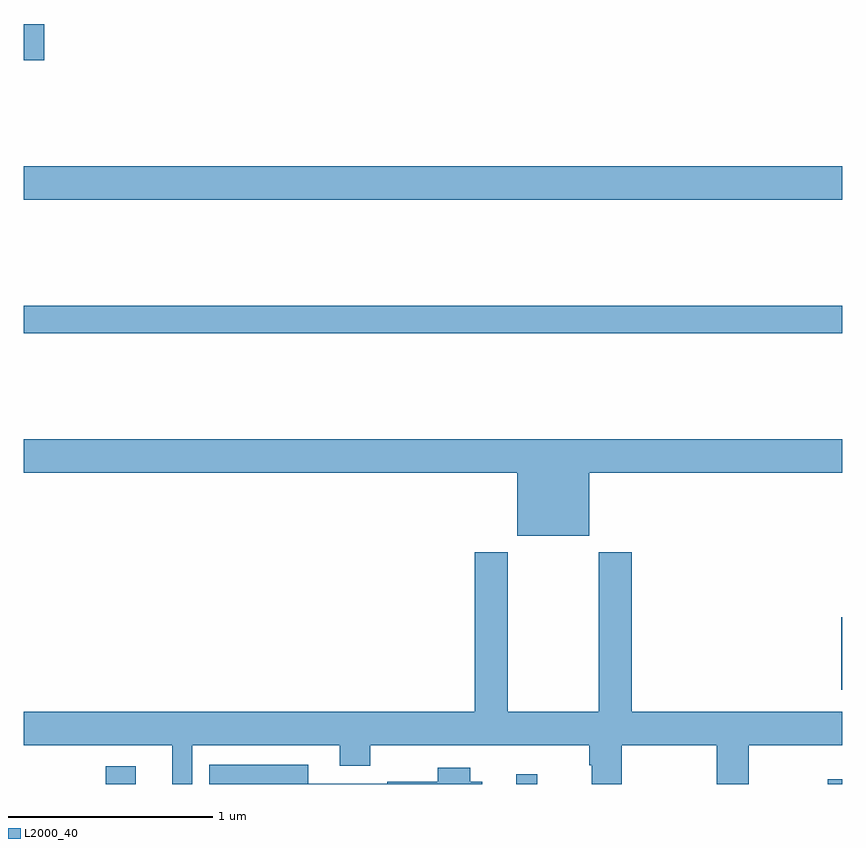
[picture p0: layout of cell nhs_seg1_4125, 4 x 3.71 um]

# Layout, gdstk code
import gdstk
lib = gdstk.Library(unit=1e-6, precision=1e-09)
def R(c, l, rs):  # rectangles x0, y0, x1, y1
    for r in rs: c.add(gdstk.rectangle(r[:2], r[2:], *l))
def P(c, l, *ps):  # polygons
    for p in ps: c.add(gdstk.Polygon(p, *l))
L2000_40 = (2000, 40)

nhs_seg1_4125 = lib.new_cell('nhs_seg1_4125')
R(nhs_seg1_4125, L2000_40, [(335.402,562.199,335.548,562.285), (337.406,562.199,337.508,562.246), (338.928,562.199,339,562.222), (338.993,562.659,339,563.014), (335,564.4,339,564.536), (335,565.052,339,565.216), (335,565.733,335.101,565.911)])
P(nhs_seg1_4125, L2000_40, [(337.762,563.72),(339,563.72),(339,563.884),(335,563.884),(335,563.72),(337.412,563.72),(337.412,563.411),(337.762,563.411)],
  [(335.823,562.388),(336.545,562.388),(336.545,562.289),(336.693,562.289),(336.693,562.388),(337.763,562.388),(337.763,562.29),(337.775,562.29),(337.775,562.199),(337.923,562.199),(337.923,562.388),(338.386,562.388),(338.386,562.199),(338.541,562.199),(338.541,562.388),(339,562.388),(339,562.552),(337.97,562.552),(337.97,563.332),(337.81,563.332),(337.81,562.552),(337.365,562.552),(337.365,563.332),(337.205,563.332),(337.205,562.552),(335,562.552),(335,562.388),(335.726,562.388),(335.726,562.199),(335.823,562.199)],
  [(337.24,562.209),(337.183,562.209),(337.183,562.279),(337.024,562.279),(337.024,562.21),(336.777,562.21),(336.777,562.2),(336.391,562.2),(336.391,562.293),(335.908,562.293),(335.908,562.199),(337.24,562.199)])

lib.write_gds('nhs_seg1_4125.gds')
